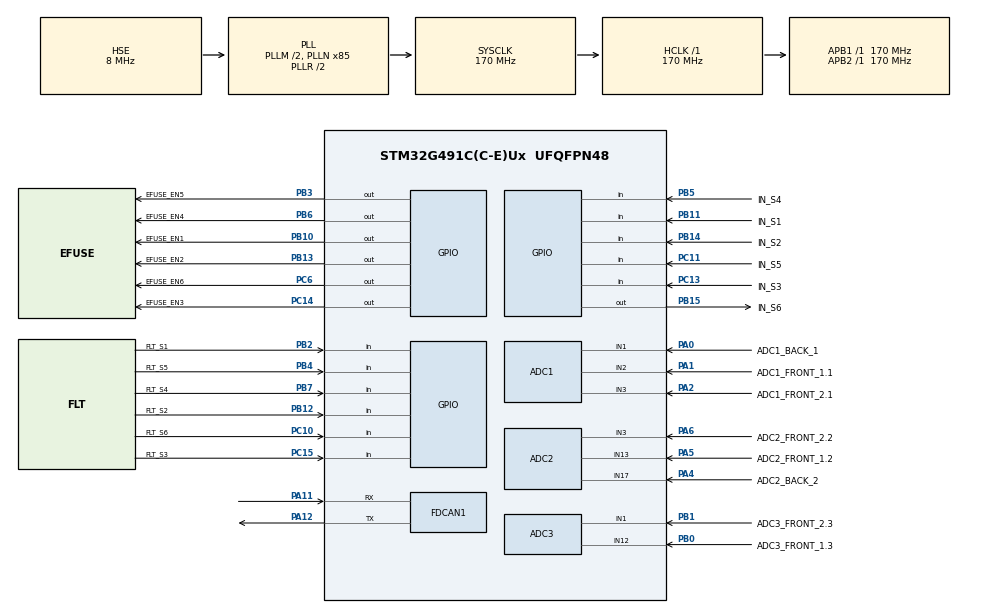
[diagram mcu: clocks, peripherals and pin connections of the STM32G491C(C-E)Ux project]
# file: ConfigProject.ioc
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ADC1.Channel-0\#ChannelRegularConversion=ADC_CHANNEL_1
ADC1.Channel-1\#ChannelRegularConversion=ADC_CHANNEL_2
ADC1.Channel-2\#ChannelRegularConversion=ADC_CHANNEL_3
ADC1.ContinuousConvMode=ENABLE
ADC1.DMAContinuousRequests=ENABLE
ADC1.EOCSelection=ADC_EOC_SINGLE_CONV
ADC1.NbrOfConversion=3
ADC1.NbrOfConversionFlag=1
ADC1.OffsetNumber-0\#ChannelRegularConversion=ADC_OFFSET_NONE
ADC1.OffsetNumber-1\#ChannelRegularConversion=ADC_OFFSET_NONE
ADC1.OffsetNumber-2\#ChannelRegularConversion=ADC_OFFSET_NONE
ADC1.Rank-0\#ChannelRegularConversion=1
ADC1.Rank-1\#ChannelRegularConversion=2
ADC1.Rank-2\#ChannelRegularConversion=3
ADC1.SamplingTime-0\#ChannelRegularConversion=ADC_SAMPLETIME_640CYCLES_5
ADC1.SamplingTime-1\#ChannelRegularConversion=ADC_SAMPLETIME_640CYCLES_5
ADC1.SamplingTime-2\#ChannelRegularConversion=ADC_SAMPLETIME_640CYCLES_5
ADC1.master=1
ADC2.Channel-0\#ChannelRegularConversion=ADC_CHANNEL_17
ADC2.Channel-1\#ChannelRegularConversion=ADC_CHANNEL_13
ADC2.Channel-2\#ChannelRegularConversion=ADC_CHANNEL_3
ADC2.ContinuousConvMode=ENABLE
ADC2.DMAContinuousRequests=ENABLE
ADC2.NbrOfConversion=3
ADC2.NbrOfConversionFlag=1
ADC2.OffsetNumber-0\#ChannelRegularConversion=ADC_OFFSET_NONE
ADC2.OffsetNumber-1\#ChannelRegularConversion=ADC_OFFSET_NONE
ADC2.OffsetNumber-2\#ChannelRegularConversion=ADC_OFFSET_NONE
ADC2.Rank-0\#ChannelRegularConversion=1
ADC2.Rank-1\#ChannelRegularConversion=2
ADC2.Rank-2\#ChannelRegularConversion=3
ADC2.SamplingTime-0\#ChannelRegularConversion=ADC_SAMPLETIME_640CYCLES_5
ADC2.SamplingTime-1\#ChannelRegularConversion=ADC_SAMPLETIME_640CYCLES_5
ADC2.SamplingTime-2\#ChannelRegularConversion=ADC_SAMPLETIME_640CYCLES_5
ADC3.Channel-0\#ChannelRegularConversion=ADC_CHANNEL_1
ADC3.Channel-1\#ChannelRegularConversion=ADC_CHANNEL_12
ADC3.ContinuousConvMode=ENABLE
ADC3.DMAContinuousRequests=ENABLE
ADC3.NbrOfConversion=2
ADC3.NbrOfConversionFlag=1
ADC3.OffsetNumber-0\#ChannelRegularConversion=ADC_OFFSET_NONE
ADC3.OffsetNumber-1\#ChannelRegularConversion=ADC_OFFSET_NONE
ADC3.Rank-0\#ChannelRegularConversion=1
ADC3.Rank-1\#ChannelRegularConversion=2
ADC3.SamplingTime-0\#ChannelRegularConversion=ADC_SAMPLETIME_640CYCLES_5
ADC3.SamplingTime-1\#ChannelRegularConversion=ADC_SAMPLETIME_640CYCLES_5
ADC3.master=1
Dma.ADC1.0.Direction=DMA_PERIPH_TO_MEMORY
Dma.ADC1.0.EventEnable=DISABLE
Dma.ADC1.0.Instance=DMA1_Channel1
Dma.ADC1.0.MemDataAlignment=DMA_MDATAALIGN_HALFWORD
Dma.ADC1.0.MemInc=DMA_MINC_ENABLE
Dma.ADC1.0.Mode=DMA_CIRCULAR
Dma.ADC1.0.PeriphDataAlignment=DMA_PDATAALIGN_HALFWORD
Dma.ADC1.0.PeriphInc=DMA_PINC_DISABLE
Dma.ADC1.0.Polarity=HAL_DMAMUX_REQ_GEN_RISING
Dma.ADC1.0.Priority=DMA_PRIORITY_LOW
Dma.ADC1.0.RequestNumber=1
Dma.ADC1.0.SignalID=NONE
Dma.ADC1.0.SyncEnable=DISABLE
Dma.ADC1.0.SyncPolarity=HAL_DMAMUX_SYNC_NO_EVENT
Dma.ADC1.0.SyncRequestNumber=1
Dma.ADC1.0.SyncSignalID=NONE
Dma.ADC2.1.Direction=DMA_PERIPH_TO_MEMORY
Dma.ADC2.1.EventEnable=DISABLE
Dma.ADC2.1.Instance=DMA1_Channel2
Dma.ADC2.1.MemDataAlignment=DMA_MDATAALIGN_HALFWORD
Dma.ADC2.1.MemInc=DMA_MINC_ENABLE
Dma.ADC2.1.Mode=DMA_CIRCULAR
Dma.ADC2.1.PeriphDataAlignment=DMA_PDATAALIGN_HALFWORD
Dma.ADC2.1.PeriphInc=DMA_PINC_DISABLE
Dma.ADC2.1.Polarity=HAL_DMAMUX_REQ_GEN_RISING
Dma.ADC2.1.Priority=DMA_PRIORITY_LOW
Dma.ADC2.1.RequestNumber=1
Dma.ADC2.1.SignalID=NONE
Dma.ADC2.1.SyncEnable=DISABLE
Dma.ADC2.1.SyncPolarity=HAL_DMAMUX_SYNC_NO_EVENT
Dma.ADC2.1.SyncRequestNumber=1
Dma.ADC2.1.SyncSignalID=NONE
Dma.ADC3.2.Direction=DMA_PERIPH_TO_MEMORY
Dma.ADC3.2.EventEnable=DISABLE
Dma.ADC3.2.Instance=DMA1_Channel3
Dma.ADC3.2.MemDataAlignment=DMA_MDATAALIGN_HALFWORD
Dma.ADC3.2.MemInc=DMA_MINC_ENABLE
Dma.ADC3.2.Mode=DMA_CIRCULAR
Dma.ADC3.2.PeriphDataAlignment=DMA_PDATAALIGN_HALFWORD
Dma.ADC3.2.PeriphInc=DMA_PINC_DISABLE
Dma.ADC3.2.Polarity=HAL_DMAMUX_REQ_GEN_RISING
Dma.ADC3.2.Priority=DMA_PRIORITY_LOW
Dma.ADC3.2.RequestNumber=1
Dma.ADC3.2.SignalID=NONE
Dma.ADC3.2.SyncEnable=DISABLE
Dma.ADC3.2.SyncPolarity=HAL_DMAMUX_SYNC_NO_EVENT
Dma.ADC3.2.SyncRequestNumber=1
Dma.ADC3.2.SyncSignalID=NONE
Dma.Request0=ADC1
Dma.Request1=ADC2
Dma.Request2=ADC3
FDCAN1.AutoRetransmission=ENABLE
FDCAN1.CalculateBaudRateNominal=500000
FDCAN1.CalculateTimeBitNominal=2000
FDCAN1.CalculateTimeQuantumNominal=100.0
FDCAN1.ClockDivider=FDCAN_CLOCK_DIV1
FDCAN1.NominalPrescaler=17
FDCAN1.NominalSyncJumpWidth=4
FDCAN1.NominalTimeSeg1=14
FDCAN1.NominalTimeSeg2=5
Mcu.Family=STM32G4
Mcu.Name=STM32G491C(C-E)Ux
Mcu.Package=UFQFPN48
NVIC.DMA1_Channel1_IRQn=true\:0\:0\:false\:false\:true\:false\:true\:true
NVIC.DMA1_Channel2_IRQn=true\:0\:0\:false\:false\:true\:false\:true\:true
NVIC.DMA1_Channel3_IRQn=true\:0\:0\:false\:false\:true\:false\:true\:true
NVIC.FDCAN1_IT0_IRQn=true\:0\:0\:false\:false\:true\:true\:true\:true
NVIC.PriorityGroup=NVIC_PRIORITYGROUP_4
PA0.GPIO_Label=ADC1_BACK_1
PA0.Mode=IN1-Single-Ended
PA0.Signal=ADC1_IN1
PA1.GPIO_Label=ADC1_FRONT_1.1
PA1.Mode=IN2-Single-Ended
PA1.Signal=ADC1_IN2
PA11.Mode=FDCAN_Activate
PA11.Signal=FDCAN1_RX
PA12.Mode=FDCAN_Activate
PA12.Signal=FDCAN1_TX
PA13.Mode=Serial_Wire
PA13.Signal=SYS_JTMS-SWDIO
PA14.Mode=Serial_Wire
PA14.Signal=SYS_JTCK-SWCLK
PA2.GPIO_Label=ADC1_FRONT_2.1
PA2.Mode=IN3-Single-Ended
PA2.Signal=ADC1_IN3
PA4.GPIO_Label=ADC2_BACK_2
PA4.Mode=IN17-Single-Ended
PA4.Signal=ADC2_IN17
PA5.GPIO_Label=ADC2_FRONT_1.2
PA5.Mode=IN13-Single-Ended
PA5.Signal=ADC2_IN13
PA6.GPIO_Label=ADC2_FRONT_2.2
PA6.Mode=IN3-Single-Ended
PA6.Signal=ADC2_IN3
PB0.GPIO_Label=ADC3_FRONT_1.3
PB0.Mode=IN12-Single-Ended
PB0.Signal=ADC3_IN12
PB1.GPIO_Label=ADC3_FRONT_2.3
PB1.Mode=IN1-Single-Ended
PB1.Signal=ADC3_IN1
PB10.GPIO_Label=EFUSE_EN1
PB10.GPIO_PuPd=GPIO_PULLDOWN
PB10.Signal=GPIO_Output
PB11.GPIO_Label=IN_S1
PB11.Signal=GPIO_Input
PB12.GPIO_Label=FLT_S2
PB12.Signal=GPIO_Input
PB13.GPIO_Label=EFUSE_EN2
PB13.GPIO_PuPd=GPIO_PULLDOWN
PB13.Signal=GPIO_Output
PB14.GPIO_Label=IN_S2
PB14.Signal=GPIO_Input
PB15.GPIO_Label=IN_S6
PB15.GPIO_PuPd=GPIO_PULLDOWN
PB15.Signal=GPIO_Output
PB2.GPIO_Label=FLT_S1
PB2.Signal=GPIO_Input
PB3.GPIO_Label=EFUSE_EN5
PB3.GPIO_PuPd=GPIO_PULLDOWN
PB3.Signal=GPIO_Output
PB4.GPIO_Label=FLT_S5
PB4.Signal=GPIO_Input
PB5.GPIO_Label=IN_S4
PB5.Signal=GPIO_Input
PB6.GPIO_FM6=__NULL
PB6.GPIO_Label=EFUSE_EN4
PB6.GPIO_PuPd=GPIO_PULLDOWN
PB6.Signal=GPIO_Output
PB7.GPIO_Label=FLT_S4
PB7.Signal=GPIO_Input
PC10.GPIO_Label=FLT_S6
PC10.Signal=GPIO_Input
PC11.GPIO_Label=IN_S5
PC11.Signal=GPIO_Input
PC13.GPIO_Label=IN_S3
PC13.Signal=GPIO_Input
PC14-OSC32_IN.GPIO_Label=EFUSE_EN3
PC14-OSC32_IN.GPIO_PuPd=GPIO_PULLDOWN
PC14-OSC32_IN.Signal=GPIO_Output
PC15-OSC32_OUT.GPIO_Label=FLT_S3
PC15-OSC32_OUT.Signal=GPIO_Input
PC6.GPIO_Label=EFUSE_EN6
PC6.GPIO_PuPd=GPIO_PULLDOWN
PC6.Signal=GPIO_Output
PF0-OSC_IN.Mode=HSE-External-Oscillator
PF0-OSC_IN.Signal=RCC_OSC_IN
PF1-OSC_OUT.Mode=HSE-External-Oscillator
PF1-OSC_OUT.Signal=RCC_OSC_OUT
ProjectManager.HeapSize=0x200
ProjectManager.StackSize=0x400
ProjectManager.TargetToolchain=CMake
RCC.ADC12Freq_Value=170000000
RCC.ADC345Freq_Value=170000000
RCC.AHBFreq_Value=170000000
RCC.APB1Freq_Value=170000000
RCC.APB1TimFreq_Value=170000000
RCC.APB2Freq_Value=170000000
RCC.APB2TimFreq_Value=170000000
RCC.CortexFreq_Value=170000000
RCC.EXTERNAL_CLOCK_VALUE=12288000
RCC.HCLKFreq_Value=170000000
RCC.HSE_VALUE=8000000
RCC.HSI48_VALUE=48000000
RCC.HSI_VALUE=16000000
RCC.LSE_VALUE=32768
RCC.PLLM=RCC_PLLM_DIV2
RCC.PLLN=85
RCC.PLLSourceVirtual=RCC_PLLSOURCE_HSE
RCC.SYSCLKFreq_VALUE=170000000
RCC.SYSCLKSource=RCC_SYSCLKSOURCE_PLLCLK
RCC.VCOOutputFreq_Value=340000000
VP_SYS_VS_DBSignals.Mode=DisableDeadBatterySignals
board=custom

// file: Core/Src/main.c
/* USER CODE BEGIN Header */
/**
  ******************************************************************************
  * @file           : main.c
  * @brief          : Main program body
  ******************************************************************************
  * @attention
  *
  * Copyright (c) 2026 STMicroelectronics.
  * All rights reserved.
  *
  * This software is licensed under terms that can be found in the LICENSE file
  * in the root directory of this software component.
  * If no LICENSE file comes with this software, it is provided AS-IS.
  *
  ******************************************************************************
  */
/* USER CODE END Header */
#include "main.h"
#include "adc.h"
#include "dma.h"
#include "fdcan.h"
#include "gpio.h"

/* USER CODE BEGIN PD */
#define CAN_VISION_MASK_ID  0x60
#define CAN_LINE_MASK_ID    0x50

#define COMMAND_SET_THRESHOLDS 0x20
#define COMMAND_SET_MODE       0x21

#define SCANNING 1
#define FAST     2
/* USER CODE END PD */

/* USER CODE BEGIN PV */
uint32_t counter = 0U; /* TODO: delete later. debug purpose only */
uint16_t adc1_buffer[3];
uint16_t adc2_buffer[3];
uint16_t adc3_buffer[2];
GPIO_PinState vision_buffer[6];

// Legacy Protocol Variables
uint8_t lineMeasurements[8] = {0};
uint8_t lineThresholds[8] = {20, 20, 20, 20, 20, 20, 20, 20};
uint8_t state = FAST;
uint8_t previousDetection = 0;
uint32_t lastSendTime = 0;
/* USER CODE END PV */

void SystemClock_Config(void);
/* USER CODE BEGIN PFP */
void Vision_Sensors_Read(void);
void Vision_Sensors_Handler(void);

void Line_Sensors_Handler(void);

void FDCAN_Transmit(uint32_t id, const uint8_t *buffer, uint8_t buffer_size);
void FDCAN_Restart(void);

/* USER CODE END PFP */

int main(void)
{

  /* MCU Configuration--------------------------------------------------------*/

  /* Reset of all peripherals, Initializes the Flash interface and the Systick. */
  HAL_Init();

  /* Configure the system clock */
  SystemClock_Config();

  /* Initialize all configured peripherals */
  MX_GPIO_Init();
  MX_DMA_Init();
  MX_ADC1_Init();
  MX_ADC2_Init();
  MX_ADC3_Init();
  MX_FDCAN1_Init();
  /* USER CODE BEGIN 2 */

  /* Enable Vision Sensors */
  HAL_GPIO_WritePin(EFUSE_EN1_GPIO_Port, EFUSE_EN1_Pin, GPIO_PIN_RESET);
  HAL_GPIO_WritePin(EFUSE_EN2_GPIO_Port, EFUSE_EN2_Pin, GPIO_PIN_RESET);
  HAL_GPIO_WritePin(EFUSE_EN3_GPIO_Port, EFUSE_EN3_Pin, GPIO_PIN_RESET);
  HAL_GPIO_WritePin(EFUSE_EN4_GPIO_Port, EFUSE_EN4_Pin, GPIO_PIN_SET);
  HAL_GPIO_WritePin(EFUSE_EN5_GPIO_Port, EFUSE_EN5_Pin, GPIO_PIN_SET);
  HAL_GPIO_WritePin(EFUSE_EN6_GPIO_Port, EFUSE_EN6_Pin, GPIO_PIN_RESET);

  /* Calibrate the ADC */
  HAL_ADCEx_Calibration_Start(&hadc1, ADC_SINGLE_ENDED);
  HAL_ADCEx_Calibration_Start(&hadc2, ADC_SINGLE_ENDED);
  HAL_ADCEx_Calibration_Start(&hadc3, ADC_SINGLE_ENDED);

  /* Start DMA acq */
  HAL_ADC_Start_DMA(&hadc1, (uint32_t*)adc1_buffer, 3);
  HAL_ADC_Start_DMA(&hadc2, (uint32_t*)adc2_buffer, 3);
  HAL_ADC_Start_DMA(&hadc3, (uint32_t*)adc3_buffer, 2);

  /* Configure FDCAN to accept all incoming messages into FIFO0 */
  HAL_FDCAN_ConfigGlobalFilter(&hfdcan1, FDCAN_REJECT, FDCAN_REJECT, FDCAN_FILTER_REMOTE, FDCAN_FILTER_REMOTE);
  HAL_FDCAN_ConfigGlobalFilter(&hfdcan1, FDCAN_ACCEPT_IN_RX_FIFO0, FDCAN_ACCEPT_IN_RX_FIFO0, FDCAN_FILTER_REMOTE, FDCAN_FILTER_REMOTE);

  /* Start CAN and activate RX Interrupt */
  if (HAL_FDCAN_Start(&hfdcan1) != HAL_OK) {
      Error_Handler();
  }
  if (HAL_FDCAN_ActivateNotification(&hfdcan1, FDCAN_IT_RX_FIFO0_NEW_MESSAGE, 0) != HAL_OK) {
      Error_Handler();
  }
  /* USER CODE END 2 */

  /* Infinite loop */
  /* USER CODE BEGIN WHILE */
  while (1)
  {
    counter++; /* TODO: Delete later */
    Vision_Sensors_Read();
    Vision_Sensors_Handler();
    Line_Sensors_Handler();
    /* USER CODE END WHILE */

  }
}

void SystemClock_Config(void)
{
  RCC_OscInitTypeDef RCC_OscInitStruct = {0};
  RCC_ClkInitTypeDef RCC_ClkInitStruct = {0};

  /** Configure the main internal regulator output voltage
  */
  HAL_PWREx_ControlVoltageScaling(PWR_REGULATOR_VOLTAGE_SCALE1_BOOST);

  /** Initializes the RCC Oscillators according to the specified parameters
  * in the RCC_OscInitTypeDef structure.
  */
  RCC_OscInitStruct.OscillatorType = RCC_OSCILLATORTYPE_HSE;
  RCC_OscInitStruct.HSEState = RCC_HSE_ON;
  RCC_OscInitStruct.PLL.PLLState = RCC_PLL_ON;
  RCC_OscInitStruct.PLL.PLLSource = RCC_PLLSOURCE_HSE;
  RCC_OscInitStruct.PLL.PLLM = RCC_PLLM_DIV2;
  RCC_OscInitStruct.PLL.PLLN = 85;
  RCC_OscInitStruct.PLL.PLLP = RCC_PLLP_DIV2;
  RCC_OscInitStruct.PLL.PLLQ = RCC_PLLQ_DIV2;
  RCC_OscInitStruct.PLL.PLLR = RCC_PLLR_DIV2;
  if (HAL_RCC_OscConfig(&RCC_OscInitStruct) != HAL_OK)
  {
    Error_Handler();
  }

  /** Initializes the CPU, AHB and APB buses clocks
  */
  RCC_ClkInitStruct.ClockType = RCC_CLOCKTYPE_HCLK|RCC_CLOCKTYPE_SYSCLK
                              |RCC_CLOCKTYPE_PCLK1|RCC_CLOCKTYPE_PCLK2;
  RCC_ClkInitStruct.SYSCLKSource = RCC_SYSCLKSOURCE_PLLCLK;
  RCC_ClkInitStruct.AHBCLKDivider = RCC_SYSCLK_DIV1;
  RCC_ClkInitStruct.APB1CLKDivider = RCC_HCLK_DIV1;
  RCC_ClkInitStruct.APB2CLKDivider = RCC_HCLK_DIV1;

  if (HAL_RCC_ClockConfig(&RCC_ClkInitStruct, FLASH_LATENCY_4) != HAL_OK)
  {
    Error_Handler();
  }
}

/* USER CODE BEGIN 4 */
/**
  * @brief  This function used to handle the line sensors
  * @retval None
  */
void Line_Sensors_Handler (void)
{
    // Compress 12-bit DMA (0-4095) down to 8-bit Legacy (0-255)
    lineMeasurements[0] = (uint8_t)(adc1_buffer[0] >> 4);
    lineMeasurements[1] = (uint8_t)(adc1_buffer[1] >> 4);
    lineMeasurements[2] = (uint8_t)(adc1_buffer[2] >> 4);
    lineMeasurements[3] = (uint8_t)(adc2_buffer[0] >> 4);
    lineMeasurements[4] = (uint8_t)(adc2_buffer[1] >> 4);
    lineMeasurements[5] = (uint8_t)(adc2_buffer[2] >> 4);
    lineMeasurements[6] = (uint8_t)(adc3_buffer[0] >> 4);
    lineMeasurements[7] = (uint8_t)(adc3_buffer[1] >> 4);

    if (state == SCANNING) {
        if (HAL_GetTick() - lastSendTime > 10) {
            FDCAN_Transmit(CAN_LINE_MASK_ID, lineMeasurements, 8);
            lastSendTime = HAL_GetTick();
        }
    }
    else if (state == FAST) {
        uint8_t currentDetection = 0;

        for (uint8_t i = 0; i < 8; i++) {
            if (lineMeasurements[i] < lineThresholds[i]) {
                currentDetection |= (1 << i);
            }
        }

        // 3ms Debounce check
        if ((currentDetection != previousDetection) && (HAL_GetTick() - lastSendTime > 3)) {
            for (uint8_t i = 0; i < 8; i++) {
                uint8_t currBit = (currentDetection >> i) & 0x01;
                uint8_t prevBit = (previousDetection >> i) & 0x01;

                if (currBit != prevBit) {
                    FDCAN_Transmit(CAN_LINE_MASK_ID + i, &currBit, 1);
                }
            }
            previousDetection = currentDetection;
            lastSendTime = HAL_GetTick();
        }
    }
}

/**
  * @brief  This function used to handle the line sensors
  * @retval None
  */
void Vision_Sensors_Read (void)
{
  vision_buffer[0] = !HAL_GPIO_ReadPin(IN_S1_GPIO_Port, IN_S1_Pin); /* Temp not used. */
  vision_buffer[1] = !HAL_GPIO_ReadPin(IN_S2_GPIO_Port, IN_S2_Pin); /* Temp not used. */
  vision_buffer[2] = !HAL_GPIO_ReadPin(IN_S3_GPIO_Port, IN_S3_Pin); /* Temp not used. */
  vision_buffer[3] = !HAL_GPIO_ReadPin(IN_S4_GPIO_Port, IN_S4_Pin);
  vision_buffer[4] = !HAL_GPIO_ReadPin(IN_S5_GPIO_Port, IN_S5_Pin);
  vision_buffer[5] = !HAL_GPIO_ReadPin(IN_S6_GPIO_Port, IN_S6_Pin); /* Temp not used. */

  return;
}

/**
  * @brief  This function used to handle the line sensors
  * @retval None
  */
void Vision_Sensors_Handler (void)
{
  static uint8_t previousDistance[6] = {0};
    static uint32_t lastDistTime[6] = {0};

    for (uint8_t i = 0; i < 6; i++) {
        uint8_t dist = (uint8_t)vision_buffer[i];

        if ((dist != previousDistance[i]) && (HAL_GetTick() - lastDistTime[i] > 10)) {
            previousDistance[i] = dist;
            lastDistTime[i] = HAL_GetTick();
            FDCAN_Transmit(CAN_VISION_MASK_ID + i, &dist, 1);
        }
    }

}

/**
  * @brief  Transmits an Extended ID FDCAN Message
  */
void FDCAN_Transmit(uint32_t id, const uint8_t *buffer, uint8_t buffer_size)
{
    FDCAN_TxHeaderTypeDef TxHeader;
    TxHeader.Identifier = id;
    TxHeader.IdType = FDCAN_EXTENDED_ID;
    TxHeader.TxFrameType = FDCAN_DATA_FRAME;
    TxHeader.DataLength = (buffer_size == 8) ? FDCAN_DLC_BYTES_8 : FDCAN_DLC_BYTES_1;
    TxHeader.ErrorStateIndicator = FDCAN_ESI_ACTIVE;
    TxHeader.BitRateSwitch = FDCAN_BRS_OFF;
    TxHeader.FDFormat = FDCAN_CLASSIC_CAN;
    TxHeader.TxEventFifoControl = FDCAN_NO_TX_EVENTS;
    TxHeader.MessageMarker = 0;

    // if (HAL_FDCAN_GetTxFifoFreeLevel(&hfdcan1) > 0) {
    //     HAL_FDCAN_AddMessageToTxFifoQ(&hfdcan1, &TxHeader, buffer);
    // }

    // If adding the message fails (e.g., bus error or mailbox full), restart CAN
    if (HAL_FDCAN_AddMessageToTxFifoQ(&hfdcan1, &TxHeader, buffer) != HAL_OK) {
        FDCAN_Restart();
    }
}

/**
  * @brief  This function used to handle the line sensors
  * @retval None
  */
void FDCAN_Restart(void)
{
    HAL_Delay(1);

    HAL_FDCAN_Stop(&hfdcan1);
    HAL_FDCAN_DeInit(&hfdcan1);

    // Re-initialize hardware using the CubeMX generated function
    MX_FDCAN1_Init();

    // Re-apply the filters (CRITICAL: DeInit wipes these out)
    HAL_FDCAN_ConfigGlobalFilter(&hfdcan1, FDCAN_REJECT, FDCAN_REJECT, FDCAN_FILTER_REMOTE, FDCAN_FILTER_REMOTE);
    HAL_FDCAN_ConfigGlobalFilter(&hfdcan1, FDCAN_ACCEPT_IN_RX_FIFO0, FDCAN_ACCEPT_IN_RX_FIFO0, FDCAN_FILTER_REMOTE, FDCAN_FILTER_REMOTE);

    HAL_FDCAN_Start(&hfdcan1);

    if (HAL_FDCAN_ActivateNotification(&hfdcan1, FDCAN_IT_RX_FIFO0_NEW_MESSAGE, 0) != HAL_OK) {
        Error_Handler();
    }
}

/**
  * @brief  Listens for configuration commands from the main board
  */
void HAL_FDCAN_RxFifo0Callback(FDCAN_HandleTypeDef *hfdcan, uint32_t RxFifo0ITs)
{
    // FDCAN_RxHeaderTypeDef RxHeader;
    // uint8_t RxData[8];

    // if ((RxFifo0ITs & FDCAN_IT_RX_FIFO0_NEW_MESSAGE) != RESET) {
    //     if (HAL_FDCAN_GetRxMessage(hfdcan, FDCAN_RX_FIFO0, &RxHeader, RxData) == HAL_OK) {

    //         if ((RxHeader.Identifier & 0xFF) == CAN_LINE_MASK_ID) {
    //             // Command: Set Mode (0x21)
    //             if ((RxHeader.Identifier >> 8) == COMMAND_SET_MODE) {
    //                 state = RxData[0];
    //             }
    //             // Command: Set Thresholds (0x20)
    //             else if ((RxHeader.Identifier >> 8) == COMMAND_SET_THRESHOLDS) {
    //                 for(int i = 0; i < 8; i++) {
    //                     lineThresholds[i] = RxData[i];
    //                 }
    //             }
    //         }
    //     }
    //     HAL_FDCAN_ActivateNotification(hfdcan, FDCAN_IT_RX_FIFO0_NEW_MESSAGE, 0);
    // }
    FDCAN_RxHeaderTypeDef RxHeader;
    uint8_t RxData[8];

    if ((RxFifo0ITs & FDCAN_IT_RX_FIFO0_NEW_MESSAGE) != RESET) {

        // If reading the message fails, restart CAN
        if (HAL_FDCAN_GetRxMessage(hfdcan, FDCAN_RX_FIFO0, &RxHeader, RxData) != HAL_OK) {
            FDCAN_Restart();
            return; // Exit the callback early since data is invalid
        }

        if ((RxHeader.Identifier & 0xFF) == CAN_LINE_MASK_ID) {
            // Command: Set Mode (0x21)
            if ((RxHeader.Identifier >> 8) == COMMAND_SET_MODE) {
                state = RxData[0];
            }
            // Command: Set Thresholds (0x20)
            else if ((RxHeader.Identifier >> 8) == COMMAND_SET_THRESHOLDS) {
                for(int i = 0; i < 8; i++) {
                    lineThresholds[i] = RxData[i];
                }
            }
        }

        // If re-arming the interrupt fails, restart CAN
        if (HAL_FDCAN_ActivateNotification(hfdcan, FDCAN_IT_RX_FIFO0_NEW_MESSAGE, 0) != HAL_OK) {
            FDCAN_Restart();
        }
    }
}
/* USER CODE END 4 */

void Error_Handler(void)
{
  __disable_irq();
  while (1)
  {
  }
}
